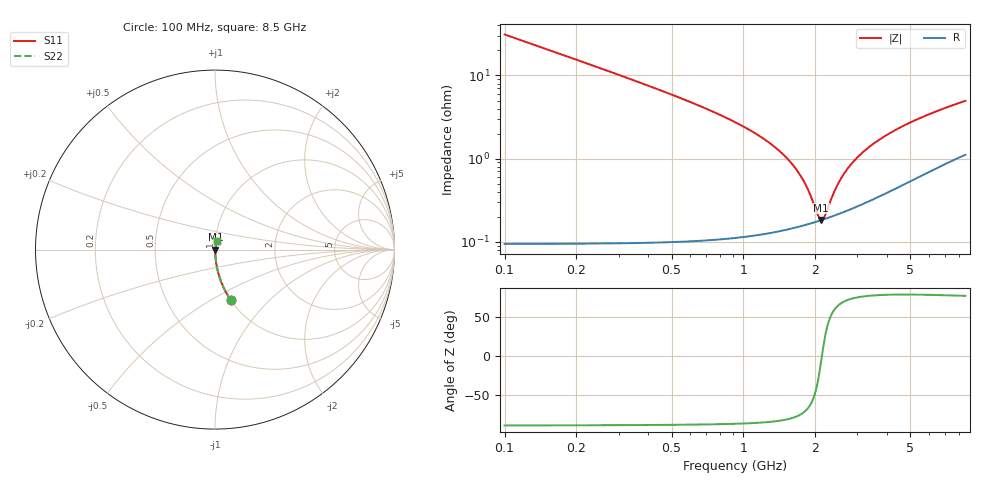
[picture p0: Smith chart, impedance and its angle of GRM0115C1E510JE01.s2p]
!Murata Part Number: GRM0115C1E510JE01
!These Parameters are Measured in Series Mode Connection
!Data Generated on Mar 30, 2021
!  o--ll--o
!Port1  Port2
!  o------o
!Operation Temp=25[degC], DC Bias Voltage=0[V]
!Freq. Start=100[MHz] Stop=9[GHz] 401[Steps]
# Hz S RI R 50
!Freq.(Hz) S11(Real) S11(Imag) S21(Real) S21(Imag) S12(Real) S12(Imag) S22(Real) S22(Imag)
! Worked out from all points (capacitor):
!   401 points, 100 MHz to 8.5 GHz, reference 50 ohm
!   read as one part in series: C = 51 pF near 142 MHz
!   lowest |Z| = 183 mohm at 2.116 GHz (marker M1)
!   series resonance near 2.132 GHz, so ESL is about 110 pH
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1e8  0.0891 -0.2834  0.9109 0.2834  0.9109 0.2834  0.0891 -0.2834
2.05e8  0.0231 -0.1472  0.9769 0.1472  0.9769 0.1472  0.0231 -0.1472
2.68e8  0.0139 -0.1129  0.9861 0.1129  0.9861 0.1129  0.0139 -0.1129
3.52e8  0.00832 -0.0854  0.9917 0.0854  0.9917 0.0854  0.00832 -0.0854
4.78e8  0.0048 -0.0616  0.9952 0.0616  0.9952 0.0616  0.0048 -0.0616
7.3e8  0.00246 -0.0376  0.9975 0.0376  0.9975 0.0376  0.00246 -0.0376
1.507e9  0.00149 -0.0103  0.9985 0.0103  0.9985 0.0103  0.00149 -0.0103
1.759e9  0.00158 -0.00561  0.9984 0.00561  0.9984 0.00561  0.00158 -0.00561
1.885e9  0.00165 -0.00358  0.9984 0.00358  0.9984 0.00358  0.00165 -0.00358
2.053e9  0.00177 -0.00109  0.9982 0.00109  0.9982 0.00109  0.00177 -0.00109
2.116e9  0.00181 -0.00022  0.9982 0.00022  0.9982 0.00022  0.00181 -0.00022
2.179e9  0.00187 0.000627  0.9981 -0.000627  0.9981 -0.000627  0.00187 0.000627
2.389e9  0.00206 0.00328  0.9979 -0.00328  0.9979 -0.00328  0.00206 0.00328
2.536e9  0.00221 0.00501  0.9978 -0.00501  0.9978 -0.00501  0.00221 0.00501
2.704e9  0.00239 0.00688  0.9976 -0.00688  0.9976 -0.00688  0.00239 0.00688
2.914e9  0.00264 0.00908  0.9974 -0.00908  0.9974 -0.00908  0.00264 0.00908
3.166e9  0.00297 0.0116  0.997 -0.0116  0.997 -0.0116  0.00297 0.0116
3.481e9  0.00342 0.0145  0.9966 -0.0145  0.9966 -0.0145  0.00342 0.0145
4.3e9  0.00474 0.0212  0.9953 -0.0212  0.9953 -0.0212  0.00474 0.0212
5.707e9  0.00739 0.0312  0.9926 -0.0312  0.9926 -0.0312  0.00739 0.0312
7.114e9  0.0103 0.0397  0.9897 -0.0397  0.9897 -0.0397  0.0103 0.0397
8.5e9  0.0133 0.0471  0.9867 -0.0471  0.9867 -0.0471  0.0133 0.0471
